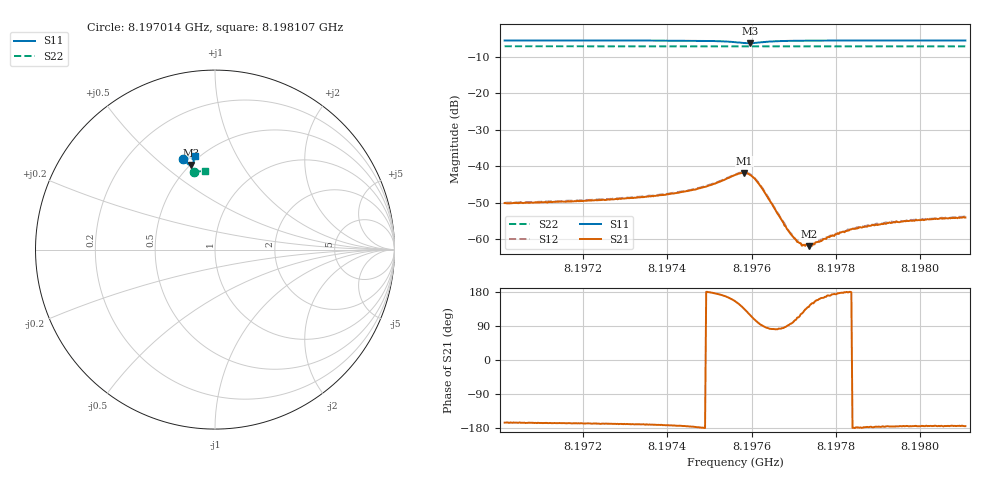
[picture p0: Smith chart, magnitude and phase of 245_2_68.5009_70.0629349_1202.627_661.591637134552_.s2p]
#  HZ  S  RI  R  50.00
! Rohde & Schwarz Vector Network Analyzer
! Rohde-Schwarz,ZNB20-2Port,1311601062101988,3.16
! Created: UTC 3/20/2024, 5:14:43 PM
! freq[Hz]  re:S11  im:S11  re:S21  im:S21  re:S12  im:S12  re:S22  im:S22
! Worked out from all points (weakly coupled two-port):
!   401 points, 8.197014 GHz to 8.198107 GHz, reference 50 ohm
!   highest |S21| = -41.84 dB at 8.197582 GHz (marker M1); lowest = -62.0 dB at 8.197735 GHz (marker M2)
!   lowest |S11| = -6.2 dB at 8.197596 GHz (marker M3), VSWR 2.93, Z = 25.1 + j31.2 ohm
!   |S11| at or under -10 dB: nowhere
!   |S22| runs from -7.1 to -7.0 dB; largest |S21 - S12| = 0.00037
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8.1970144e9  -0.1802 0.5046  -0.00301 -0.000793  -0.0031 -0.000688  -0.1175 0.4304
8.1971974e9  -0.1662 0.5089  -0.00324 -0.000758  -0.00336 -0.000617  -0.1073 0.4328
8.1973066e9  -0.157 0.5112  -0.00359 -0.00069  -0.00368 -0.000545  -0.1013 0.434
8.1973804e9  -0.1499 0.5124  -0.00394 -0.000611  -0.00403 -0.000431  -0.0972 0.4348
8.1974514e9  -0.1411 0.5127  -0.0046 -0.000367  -0.00468 -0.000199  -0.0931 0.4356
8.1974842e9  -0.1354 0.5119  -0.00512 -0.000131  -0.0052 8.99e-05  -0.0912 0.4358
8.1975142e9  -0.1293 0.5093  -0.00579 0.000442  -0.0059 0.00069  -0.0895 0.436
8.1975606e9  -0.119 0.4938  -0.0069 0.00316  -0.00688 0.00346  -0.0868 0.436
8.1975825e9  -0.124 0.4784  -0.0057 0.00574  -0.00558 0.00607  -0.0857 0.4357
8.1975961e9  -0.1351 0.4721  -0.00367 0.00668  -0.00352 0.00698  -0.0854 0.4358
8.1976071e9  -0.1453 0.4734  -0.00193 0.00649  -0.0017 0.00668  -0.0851 0.4359
8.1976207e9  -0.1542 0.4801  -0.000354 0.00536  -0.000137 0.0055  -0.0844 0.4362
8.1976835e9  -0.1532 0.5055  5.86e-06 0.00138  9.54e-05 0.00142  -0.081 0.4375
8.1976999e9  -0.1508 0.5082  -0.000209 0.00102  -0.000166 0.00103  -0.0801 0.4376
8.1977163e9  -0.1484 0.5102  -0.000445 0.000754  -0.000394 0.000769  -0.0791 0.4379
8.1977273e9  -0.1469 0.5113  -0.000555 0.000586  -0.000531 0.000612  -0.0784 0.4379
8.1977354e9  -0.1458 0.5121  -0.000609 0.000513  -0.000628 0.000562  -0.078 0.438
8.1977436e9  -0.1448 0.5127  -0.000701 0.000402  -0.000717 0.000468  -0.0776 0.4381
8.1977928e9  -0.1391 0.5155  -0.00112 0.000129  -0.00112 0.00021  -0.0746 0.4385
8.1978365e9  -0.1348 0.5172  -0.00136 2.92e-05  -0.00138 6.1e-05  -0.0722 0.439
8.1979266e9  -0.1267 0.5196  -0.00168 -0.000131  -0.0017 -7.86e-05  -0.0672 0.4396
8.1981069e9  -0.1125 0.523  -0.00196 -0.000191  -0.00201 -0.000128  -0.0569 0.4406
